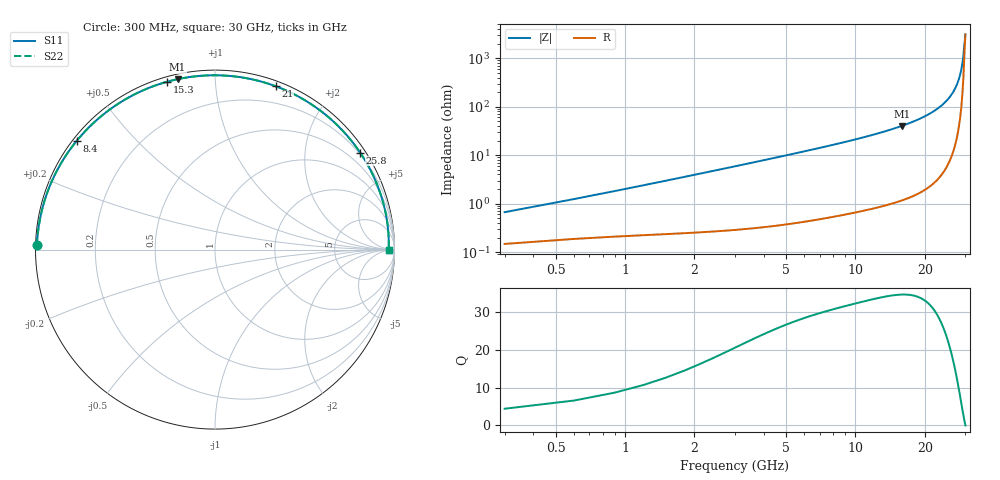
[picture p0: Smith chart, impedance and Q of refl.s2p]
! Created Thu Feb 13 09:05:39 2025
# hz S ma R 50
! 2 Port Network Data from SP1.SP block
! freq  magS11  angS11  magS21  angS21  magS12  angS12  magS22  angS22
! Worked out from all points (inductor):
!   100 points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, 300 MHz to 30 GHz, reference 50 ohm
!   read as one part to ground: L = 326 pH near 300 MHz
!   highest Q = 34.5 at 15.9 GHz (marker M1), where L = 402 pH
!   self-resonance near 29.7 GHz
!   S11 on the Smith chart (normalised r, x): 300 MHz: 0.00, +0.01; 8.4 GHz: 0.01, +0.35; 15.3 GHz: 0.02, +0.75; 21 GHz: 0.05, +1.44; 25.8 GHz: 0.16, +3.28; 30 GHz: 62, -1
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3e8  0.9941 178.5  0 0.0  0 0.0  0.9941 178.5
3e9  0.9887 166.6  0 0.0  0 0.0  0.9887 166.6
5.4e9  0.9851 155.8  0 0.0  0 0.0  0.9851 155.8
6.9e9  0.9826 148.9  0 0.0  0 0.0  0.9826 148.9
8.4e9  0.9802 141.8  0 0.0  0 0.0  0.9802 141.8
1.02e10  0.9776 133.1  0 0.0  0 0.0  0.9776 133.1
1.26e10  0.9748 120.8  0 0.0  0 0.0  0.9748 120.8
1.53e10  0.9725 105.9  0 0.0  0 0.0  0.9725 105.9
1.59e10  0.9721 102.4  0 0.0  0 0.0  0.9721 102.4
1.8e10  0.9712 89.6  0 0.0  0 0.0  0.9712 89.6
1.92e10  0.971 81.8  0 0.0  0 0.0  0.971 81.8
2.01e10  0.9709 75.8  0 0.0  0 0.0  0.9709 75.8
2.1e10  0.971 69.6  0 0.0  0 0.0  0.971 69.6
2.22e10  0.9713 61.1  0 0.0  0 0.0  0.9713 61.1
2.31e10  0.9715 54.5  0 0.0  0 0.0  0.9715 54.5
2.4e10  0.9719 47.7  0 0.0  0 0.0  0.9719 47.7
2.52e10  0.9725 38.5  0 0.0  0 0.0  0.9725 38.5
2.58e10  0.9727 33.8  0 0.0  0 0.0  0.9727 33.8
2.7e10  0.9731 24.2  0 0.0  0 0.0  0.9731 24.2
2.79e10  0.9729 17.0  0 0.0  0 0.0  0.9729 17.0
2.88e10  0.9719 9.6  0 0.0  0 0.0  0.9719 9.6
3e10  0.9682 -0.0  0 0.0  0 0.0  0.9682 -0.0
